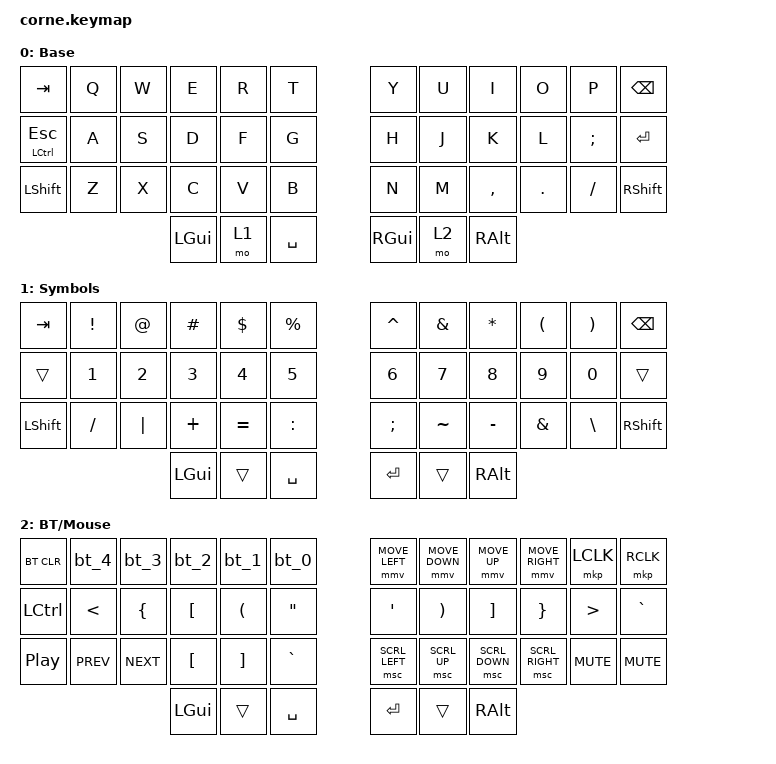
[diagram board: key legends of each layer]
/*
 * Copyright (c) 2020 The ZMK Contributors
 *
 * SPDX-License-Identifier: MIT
 */

#include <behaviors.dtsi>
#include <dt-bindings/zmk/bt.h>
#include <dt-bindings/zmk/keys.h>
#include <dt-bindings/zmk/pointing.h>
#include <dt-bindings/zmk/rgb.h>

/ {
    macros {
        bt_0: bt_profile_0 {
            display-name = "BT_0";
            compatible = "zmk,behavior-macro";
            #binding-cells = <0>;
            wait-ms = <0>;
            tap-ms = <0>;
            bindings = <
                &bt BT_SEL 0
                &rgb_ug RGB_ON
                &rgb_ug RGB_COLOR_HSB(0,100,45)
            >;
        };

        bt_1: bt_profile_1 {
            display-name = "BT_1";
            compatible = "zmk,behavior-macro";
            #binding-cells = <0>;
            wait-ms = <0>;
            tap-ms = <0>;
            bindings = <
                &bt BT_SEL 1
                &rgb_ug RGB_ON
                &rgb_ug RGB_COLOR_HSB(45,100,45)
            >;
        };

        bt_2: bt_profile_2 {
            display-name = "BT_2";
            compatible = "zmk,behavior-macro";
            #binding-cells = <0>;
            wait-ms = <0>;
            tap-ms = <0>;
            bindings = <
                &bt BT_SEL 2
                &rgb_ug RGB_ON
                &rgb_ug RGB_COLOR_HSB(120,100,40)
            >;
        };

        bt_3: bt_profile_3 {
            display-name = "BT_3";
            compatible = "zmk,behavior-macro";
            #binding-cells = <0>;
            wait-ms = <0>;
            tap-ms = <0>;
            bindings = <
                &bt BT_SEL 3
                &rgb_ug RGB_ON
                &rgb_ug RGB_COLOR_HSB(220,100,45)
            >;
        };

        bt_4: bt_profile_4 {
            display-name = "BT_4";
            compatible = "zmk,behavior-macro";
            #binding-cells = <0>;
            wait-ms = <0>;
            tap-ms = <0>;
            bindings = <
                &bt BT_SEL 4
                &rgb_ug RGB_ON
                &rgb_ug RGB_COLOR_HSB(300,100,45)
            >;
        };
    };

    keymap {
        compatible = "zmk,keymap";

        default_layer {
            display-name = "Base";
            // -----------------------------------------------------------------------------------------
            // |  TAB  |  Q  |  W  |  E  |  R  |  T  |   |  Y  |  U  |  I  |  O  |  P  | BSPC |
            // |CTL/ESC|  A  |  S  |  D  |  F  |  G  |   |  H  |  J  |  K  |  L  |  ;  | RET  |
            // |  SHFT |  Z  |  X  |  C  |  V  |  B  |   |  N  |  M  |  ,  |  .  |  /  | SHFT |
            //                    | GUI | LWR | SPC |   | GUI | RSE  | ALT |

            bindings = <
&kp TAB     &kp Q  &kp W  &kp E   &kp R  &kp T     &kp Y     &kp U  &kp I     &kp O    &kp P     &kp BSPC
&mt LCTRL ESC &kp A  &kp S  &kp D   &kp F  &kp G     &kp H     &kp J  &kp K     &kp L    &kp SEMI  &kp RET
&kp LSHFT   &kp Z  &kp X  &kp C   &kp V  &kp B     &kp N     &kp M  &kp COMMA &kp DOT  &kp FSLH  &kp RSHFT
                            &kp LGUI &mo 1 &kp SPACE &kp RGUI &mo 2  &kp RALT
            >;
        };

        lower_layer {
            display-name = "Symbols";
            // -----------------------------------------------------------------------------------------
            // | TAB  |  !  |  @  |  #  |  $  |  %  |   |  ^  |  &  |  *  |  (  |  )  | BSPC |
            // | TRNS |  1  |  2  |  3  |  4  |  5  |   |  6  |  7  |  8  |  9  |  0  | TRNS |
            // | SHFT |  /  |  |  |  +  |  =  |  :  |   |  ;  |  ~  |  -  |  &  |  \  | SHFT |
            //                    | GUI |     | SPC |   | RET |     | ALT  |

            bindings = <
&kp TAB   &kp EXCL &kp AT   &kp HASH &kp DLLR &kp PRCNT &kp CARET &kp AMPS &kp ASTRK &kp LPAR &kp RPAR &kp BSPC
&trans    &kp N1   &kp N2   &kp N3   &kp N4   &kp N5    &kp N6    &kp N7   &kp N8    &kp N9   &kp N0   &trans
&kp LSHFT &kp FSLH &kp PIPE &kp PLUS &kp EQUAL &kp COLON &kp SEMI  &kp TILDE &kp MINUS &kp AMPS &kp BSLH &kp RSHFT
                                        &kp LGUI &trans   &kp SPACE  &kp RET   &trans    &kp RALT
            >;
        };

        raise_layer {
            display-name = "BT/Mouse";
            // -----------------------------------------------------------------------------------------
            // | BTCLR | BT4 | BT3 | BT2 | BT1 | BT0 |   | MS_L | MS_D | MS_U | MS_R | LCLK | RCLK |
            // | CTRL  |  <  |  {  |  [  |  (  |  "  |   |  '   |  )   |  ]   |  }   |  >   |  `   |
            // | PLAY  | PREV| NEXT|  [  |  ]  |  `  |   | WH_L | WH_U | WH_D | WH_R | MUTE | MUTE |
            //                       | GUI |     | SPC |   | RET |     | ALT |

            bindings = <
&bt BT_CLR       &bt_4      &bt_3     &bt_2     &bt_1    &bt_0   &mmv MOVE_LEFT &mmv MOVE_DOWN &mmv MOVE_UP &mmv MOVE_RIGHT &mkp LCLK &mkp RCLK
&kp LCTRL        &kp LT     &kp LBRC  &kp LBKT  &kp LPAR &kp DQT &kp SQT        &kp RPAR      &kp RBKT    &kp RBRC       &kp GT    &kp GRAVE
&kp C_PLAY_PAUSE &kp C_PREV &kp C_NEXT &kp LBKT &kp RBKT &kp GRAVE &msc SCRL_LEFT &msc SCRL_UP  &msc SCRL_DOWN &msc SCRL_RIGHT &kp C_MUTE &kp C_MUTE
                                      &kp LGUI  &trans   &kp SPACE &kp RET       &trans         &kp RALT
            >;
        };
    };
};

/ {
    chosen {
        zmk,underglow = &led_strip;
    };
};

&pinctrl {
    spi3_default: spi3_default {
        group1 {
            psels = <NRF_PSEL(SPIM_MOSI, 0, 6)>;
        };
    };

    spi3_sleep: spi3_sleep {
        group1 {
            psels = <NRF_PSEL(SPIM_MOSI, 0, 6)>;
            low-power-enable;
        };
    };
};

&spi3 {
    compatible = "nordic,nrf-spim";
    status = "okay";

    pinctrl-0 = <&spi3_default>;
    pinctrl-1 = <&spi3_sleep>;
    pinctrl-names = "default", "sleep";

    led_strip: ws2812@0 {
        compatible = "worldsemi,ws2812-spi";
        reg = <0>;
        spi-max-frequency = <4000000>;
        chain-length = <1>;
        spi-one-frame = <0x70>;
        spi-zero-frame = <0x40>;
        color-mapping = <1 0 2>;
    };
};
